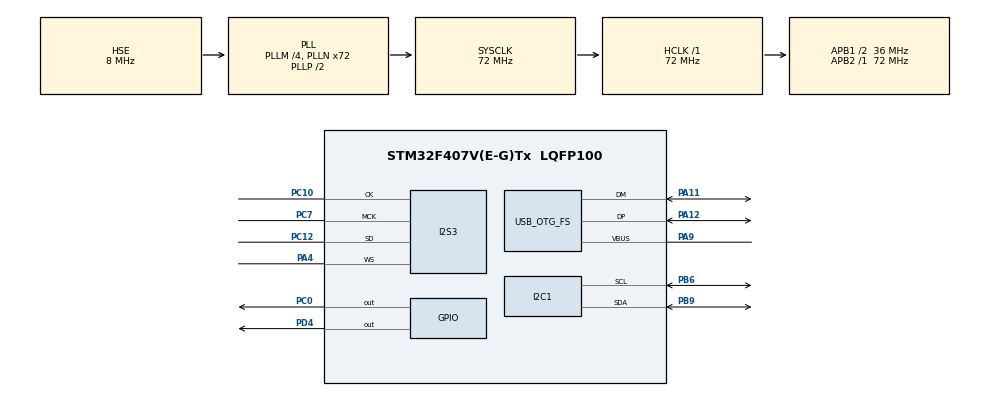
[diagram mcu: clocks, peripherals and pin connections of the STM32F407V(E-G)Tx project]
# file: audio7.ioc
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Dma.Request0=SPI3_TX
Dma.SPI3_TX.0.Direction=DMA_MEMORY_TO_PERIPH
Dma.SPI3_TX.0.FIFOMode=DMA_FIFOMODE_DISABLE
Dma.SPI3_TX.0.Instance=DMA1_Stream5
Dma.SPI3_TX.0.MemDataAlignment=DMA_MDATAALIGN_HALFWORD
Dma.SPI3_TX.0.MemInc=DMA_MINC_ENABLE
Dma.SPI3_TX.0.Mode=DMA_NORMAL
Dma.SPI3_TX.0.PeriphDataAlignment=DMA_PDATAALIGN_HALFWORD
Dma.SPI3_TX.0.PeriphInc=DMA_PINC_DISABLE
Dma.SPI3_TX.0.Priority=DMA_PRIORITY_HIGH
FATFS._MAX_SS=2048
FATFS._MIN_SS=512
I2S3.AudioFreq=I2S_AUDIOFREQ_22K
I2S3.ErrorAudioFreq=0.26 %
I2S3.FullDuplexMode=I2S_FULLDUPLEXMODE_DISABLE
I2S3.Instance=SPI$Index
I2S3.RealAudioFreq=22.058 KHz
I2S3.VirtualMode=I2S_MODE_MASTER
Mcu.Family=STM32F4
Mcu.Name=STM32F407V(E-G)Tx
Mcu.Package=LQFP100
NVIC.DMA1_Stream5_IRQn=true\:0\:0\:false\:false\:true\:false\:true
NVIC.OTG_FS_IRQn=true\:0\:0\:false\:false\:true\:false\:true
NVIC.PriorityGroup=NVIC_PRIORITYGROUP_4
NVIC.SPI3_IRQn=true\:0\:0\:false\:false\:true\:true\:true
PA11.Mode=Host_Only
PA11.Signal=USB_OTG_FS_DM
PA12.Mode=Host_Only
PA12.Signal=USB_OTG_FS_DP
PA4.Mode=Half_Duplex_Master
PA4.Signal=I2S3_WS
PA9.Mode=Activate_VBUS
PA9.Signal=USB_OTG_FS_VBUS
PB6.Mode=I2C
PB6.Signal=I2C1_SCL
PB9.Mode=I2C
PB9.Signal=I2C1_SDA
PC0.Signal=GPIO_Output
PC10.Mode=Half_Duplex_Master
PC10.Signal=I2S3_CK
PC12.Mode=Half_Duplex_Master
PC12.Signal=I2S3_SD
PC7.Mode=Master_Clock_Activated
PC7.Signal=I2S3_MCK
PD4.Signal=GPIO_Output
PH0-OSC_IN.Mode=HSE-External-Oscillator
PH0-OSC_IN.Signal=RCC_OSC_IN
PH1-OSC_OUT.Mode=HSE-External-Oscillator
PH1-OSC_OUT.Signal=RCC_OSC_OUT
ProjectManager.HeapSize=0x200
ProjectManager.StackSize=0x400
ProjectManager.TargetToolchain=STM32CubeIDE
RCC.48MHZClocksFreq_Value=48000000
RCC.AHBFreq_Value=72000000
RCC.APB1CLKDivider=RCC_HCLK_DIV2
RCC.APB1Freq_Value=36000000
RCC.APB1TimFreq_Value=72000000
RCC.APB2Freq_Value=72000000
RCC.APB2TimFreq_Value=72000000
RCC.CortexFreq_Value=72000000
RCC.HCLKFreq_Value=72000000
RCC.HSE_VALUE=8000000
RCC.HSI_VALUE=16000000
RCC.LSE_VALUE=32768
RCC.PLLM=4
RCC.PLLN=72
RCC.PLLQ=3
RCC.SYSCLKFreq_VALUE=72000000
RCC.SYSCLKSource=RCC_SYSCLKSOURCE_PLLCLK
RCC.VCOOutputFreq_Value=144000000
USB_HOST.BSP.number=1
USB_HOST.USBH_HandleTypeDef-MSC_FS=hUsbHostFS
USB_HOST.USBH_MAX_DATA_BUFFER-MSC_FS=1024
USB_HOST.VirtualModeFS=Msc
USB_HOST0.BSP.STBoard=false
USB_HOST0.BSP.api=Unknown
USB_HOST0.BSP.i2caddr=0
USB_HOST0.BSP.instance=PC0
USB_HOST0.BSP.ip=GPIO
USB_HOST0.BSP.mode=Output
USB_HOST0.BSP.name=Drive_VBUS_FS
USB_HOST0.BSP.solution=PC0
USB_OTG_FS.VirtualMode=Host_Only
USB_OTG_FS.phy_itface=HCD_PHY_EMBEDDED
VP_CRC_VS_CRC.Mode=CRC_Activate
VP_FATFS_VS_USB.Mode=USB
VP_USB_HOST_VS_USB_HOST_MSC_FS.Mode=MSC_FS
board=custom

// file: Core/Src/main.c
/* USER CODE BEGIN Header */
/**
  ******************************************************************************
  * @file           : main.c
  * @brief          : Main program body
  ******************************************************************************
  * @attention
  *
  * <h2><center>&copy; Copyright (c) 2021 STMicroelectronics.
  * All rights reserved.</center></h2>
  *
  * This software component is licensed by ST under BSD 3-Clause license,
  * the "License"; You may not use this file except in compliance with the
  * License. You may obtain a copy of the License at:
  *                        opensource.org/licenses/BSD-3-Clause
  *
  ******************************************************************************
  */
/* USER CODE END Header */
#include "main.h"
#include "fatfs.h"
#include "usb_host.h"

/* USER CODE BEGIN Includes */
#include "audio.h"
#include "spiritMP3Dec.h"
//#include <math.h>
/* USER CODE END Includes */

CRC_HandleTypeDef hcrc;

I2C_HandleTypeDef hi2c1;

I2S_HandleTypeDef hi2s3;
DMA_HandleTypeDef hdma_spi3_tx;

/* USER CODE BEGIN PV */
//#define PI 3.14159f
//#define F_SAMPLE		44000.0f
//#define F_OUT			1500.0f
/* USER CODE END PV */

void SystemClock_Config(void);
static void MX_GPIO_Init(void);
static void MX_DMA_Init(void);
static void MX_I2C1_Init(void);
static void MX_I2S3_Init(void);
static void MX_CRC_Init(void);
void MX_USB_HOST_Process(void);

/* USER CODE BEGIN 0 */
uint8_t retUSBH; /* Return value for USBH */
char USBHPath[4]; /* USBH logical drive path */
FATFS USBHFatFS; /* File system object for USBH logical drive */
FIL USBHFile; /* File object for USBH */
extern ApplicationTypeDef Appli_state;

//float sample_dt;
//uint16_t sample_N;

#define COUNT _MAX_SS
int16_t buffer[COUNT];
UINT count;
int16_t * read_buff;
int16_t * play_buff;
uint8_t go_next=0;

uint8_t rd_part1=0;
uint8_t rd_part2=0;
uint8_t playing=0;
TSpiritMP3Decoder g_MP3Decoder;
TSpiritMP3Info Mp3Info;
//uint16_t last_sample = 0;

//void create_period(int16_t * buf, uint16_t Nsamples)
//{
//	//Build Sine wave
//	for(uint16_t i=0; i<Nsamples/2; i++)
//	{
//		float mySinVal = sinf(last_sample*2*PI*sample_dt);
//		buf[i*2] = (mySinVal )*8000;    //Right data (0 2 4 6 8 10 12)
//		buf[i*2 + 1] =(mySinVal )*8000; //Left data  (1 3 5 7 9 11 13)
//		last_sample++;
//		if (last_sample > sample_N) last_sample = 0;
//	}
//}

unsigned int RetrieveMP3Data(void * pMP3CompressedData,unsigned int nMP3DataSizeInChars,void * token)
{

	f_read((FIL*)token, pMP3CompressedData, nMP3DataSizeInChars, &count);
	return count;
}
/* USER CODE END 0 */

int main(void)
{
  /* USER CODE BEGIN 1 */
	//sample_dt = F_OUT/F_SAMPLE;
	//sample_N = F_SAMPLE/F_OUT;

  /* USER CODE END 1 */

  /* MCU Configuration--------------------------------------------------------*/

  /* Reset of all peripherals, Initializes the Flash interface and the Systick. */
  HAL_Init();

  /* Configure the system clock */
  SystemClock_Config();

  /* Initialize all configured peripherals */
  MX_GPIO_Init();
  MX_DMA_Init();
  MX_I2C1_Init();
  MX_I2S3_Init();
  MX_FATFS_Init();
  MX_USB_HOST_Init();
  MX_CRC_Init();
  /* USER CODE BEGIN 2 */
  CS43_Init(hi2c1, MODE_I2S);
  CS43_SetVolume(20);
  CS43_Enable_RightLeft(CS43_RIGHT_LEFT);
  CS43_Start();

  /* USER CODE END 2 */

  /* Infinite loop */
  while (1)
  {
    MX_USB_HOST_Process();

    /* USER CODE BEGIN 3 */
    if (Appli_state == APPLICATION_READY) {
    	if (!playing) {
			if (f_mount(&USBHFatFS, USBHPath, 1) == FR_OK) {
				if (f_open(&USBHFile, "my.mp3", FA_OPEN_EXISTING | FA_READ) == FR_OK) {
					// Enable CRC and reset
				    RCC->AHB1ENR |= RCC_AHB1ENR_CRCEN;
				    CRC->CR = CRC_CR_RESET;

				    // Read Sampling rate
					SpiritMP3DecoderInit(&g_MP3Decoder,       // MP3 decoder object
										RetrieveMP3Data,     // Input callback function
										NULL,         // No post-process callback
										&USBHFile             // Callback parameter
					);

					SpiritMP3Decode(&g_MP3Decoder,(int16_t *)buffer,COUNT/sizeof(uint32_t),&Mp3Info);
					SpiritMP3Decode(&g_MP3Decoder,(int16_t *)&buffer[COUNT/2],COUNT/sizeof(uint32_t),&Mp3Info);

					f_lseek(&USBHFile, 0);

					hi2s3.Init.AudioFreq = Mp3Info.nSampleRateHz;
					HAL_I2S_Init(&hi2s3);

					SpiritMP3DecoderInit(&g_MP3Decoder,       // MP3 decoder object
										RetrieveMP3Data,     // Input callback function
										NULL,         // No post-process callback
										&USBHFile             // Callback parameter
					);

					SpiritMP3Decode(&g_MP3Decoder,(int16_t *)buffer,COUNT/sizeof(uint32_t),NULL);
					SpiritMP3Decode(&g_MP3Decoder,(int16_t *)&buffer[COUNT/2],COUNT/sizeof(uint32_t),NULL);

//					f_read(&USBHFile, (uint8_t*)buffer, 44, &count);
//					f_read(&USBHFile, (uint8_t*)buffer, COUNT,&count);
//					f_read(&USBHFile, (uint8_t*)&buffer[COUNT/2], COUNT,&count);

					//create_period(buffer, _MAX_SS);
					playing = 1;
					HAL_I2S_Transmit_DMA(&hi2s3, (uint16_t *)buffer, COUNT);
				}
			}
    	} else {
    		if (rd_part1) {
    			//f_read(&USBHFile, (uint8_t*)buffer, COUNT,&count);
    			SpiritMP3Decode(&g_MP3Decoder,(int16_t *)buffer,COUNT/sizeof(uint32_t),NULL);
    			rd_part1 = 0;
    		}
    		if (rd_part2) {
    			//f_read(&USBHFile, (uint8_t*)&buffer[COUNT/2], COUNT,&count);
    			SpiritMP3Decode(&g_MP3Decoder,(int16_t *)&buffer[COUNT/2],COUNT/sizeof(uint32_t),NULL);
    			rd_part2 = 0;
    		}
    	}
    } else if (Appli_state == APPLICATION_DISCONNECT) {
    	playing = 0;
    	CS43_Stop();
    	f_mount(0, "", 0);
    	Appli_state = APPLICATION_IDLE;
    }

  }
  /* USER CODE END 3 */
}

void SystemClock_Config(void)
{
  RCC_OscInitTypeDef RCC_OscInitStruct = {0};
  RCC_ClkInitTypeDef RCC_ClkInitStruct = {0};
  RCC_PeriphCLKInitTypeDef PeriphClkInitStruct = {0};

  /** Configure the main internal regulator output voltage
  */
  __HAL_RCC_PWR_CLK_ENABLE();
  __HAL_PWR_VOLTAGESCALING_CONFIG(PWR_REGULATOR_VOLTAGE_SCALE1);
  /** Initializes the RCC Oscillators according to the specified parameters
  * in the RCC_OscInitTypeDef structure.
  */
  RCC_OscInitStruct.OscillatorType = RCC_OSCILLATORTYPE_HSE;
  RCC_OscInitStruct.HSEState = RCC_HSE_ON;
  RCC_OscInitStruct.PLL.PLLState = RCC_PLL_ON;
  RCC_OscInitStruct.PLL.PLLSource = RCC_PLLSOURCE_HSE;
  RCC_OscInitStruct.PLL.PLLM = 4;
  RCC_OscInitStruct.PLL.PLLN = 72;
  RCC_OscInitStruct.PLL.PLLP = RCC_PLLP_DIV2;
  RCC_OscInitStruct.PLL.PLLQ = 3;
  if (HAL_RCC_OscConfig(&RCC_OscInitStruct) != HAL_OK)
  {
    Error_Handler();
  }
  /** Initializes the CPU, AHB and APB buses clocks
  */
  RCC_ClkInitStruct.ClockType = RCC_CLOCKTYPE_HCLK|RCC_CLOCKTYPE_SYSCLK
                              |RCC_CLOCKTYPE_PCLK1|RCC_CLOCKTYPE_PCLK2;
  RCC_ClkInitStruct.SYSCLKSource = RCC_SYSCLKSOURCE_PLLCLK;
  RCC_ClkInitStruct.AHBCLKDivider = RCC_SYSCLK_DIV1;
  RCC_ClkInitStruct.APB1CLKDivider = RCC_HCLK_DIV2;
  RCC_ClkInitStruct.APB2CLKDivider = RCC_HCLK_DIV1;

  if (HAL_RCC_ClockConfig(&RCC_ClkInitStruct, FLASH_LATENCY_2) != HAL_OK)
  {
    Error_Handler();
  }
  PeriphClkInitStruct.PeriphClockSelection = RCC_PERIPHCLK_I2S;
  PeriphClkInitStruct.PLLI2S.PLLI2SN = 192;
  PeriphClkInitStruct.PLLI2S.PLLI2SR = 2;
  if (HAL_RCCEx_PeriphCLKConfig(&PeriphClkInitStruct) != HAL_OK)
  {
    Error_Handler();
  }
}

static void MX_CRC_Init(void)
{

  hcrc.Instance = CRC;
  if (HAL_CRC_Init(&hcrc) != HAL_OK)
  {
    Error_Handler();
  }

}

static void MX_I2C1_Init(void)
{

  hi2c1.Instance = I2C1;
  hi2c1.Init.ClockSpeed = 100000;
  hi2c1.Init.DutyCycle = I2C_DUTYCYCLE_2;
  hi2c1.Init.OwnAddress1 = 0;
  hi2c1.Init.AddressingMode = I2C_ADDRESSINGMODE_7BIT;
  hi2c1.Init.DualAddressMode = I2C_DUALADDRESS_DISABLE;
  hi2c1.Init.OwnAddress2 = 0;
  hi2c1.Init.GeneralCallMode = I2C_GENERALCALL_DISABLE;
  hi2c1.Init.NoStretchMode = I2C_NOSTRETCH_DISABLE;
  if (HAL_I2C_Init(&hi2c1) != HAL_OK)
  {
    Error_Handler();
  }

}

static void MX_I2S3_Init(void)
{

  hi2s3.Instance = SPI3;
  hi2s3.Init.Mode = I2S_MODE_MASTER_TX;
  hi2s3.Init.Standard = I2S_STANDARD_PHILIPS;
  hi2s3.Init.DataFormat = I2S_DATAFORMAT_16B;
  hi2s3.Init.MCLKOutput = I2S_MCLKOUTPUT_ENABLE;
  hi2s3.Init.AudioFreq = I2S_AUDIOFREQ_22K;
  hi2s3.Init.CPOL = I2S_CPOL_LOW;
  hi2s3.Init.ClockSource = I2S_CLOCK_PLL;
  hi2s3.Init.FullDuplexMode = I2S_FULLDUPLEXMODE_DISABLE;
  if (HAL_I2S_Init(&hi2s3) != HAL_OK)
  {
    Error_Handler();
  }

}

static void MX_DMA_Init(void)
{

  /* DMA controller clock enable */
  __HAL_RCC_DMA1_CLK_ENABLE();

  /* DMA interrupt init */
  /* DMA1_Stream5_IRQn interrupt configuration */
  HAL_NVIC_SetPriority(DMA1_Stream5_IRQn, 0, 0);
  HAL_NVIC_EnableIRQ(DMA1_Stream5_IRQn);

}

static void MX_GPIO_Init(void)
{
  GPIO_InitTypeDef GPIO_InitStruct = {0};

  /* GPIO Ports Clock Enable */
  __HAL_RCC_GPIOH_CLK_ENABLE();
  __HAL_RCC_GPIOC_CLK_ENABLE();
  __HAL_RCC_GPIOA_CLK_ENABLE();
  __HAL_RCC_GPIOD_CLK_ENABLE();
  __HAL_RCC_GPIOB_CLK_ENABLE();

  /*Configure GPIO pin Output Level */
  HAL_GPIO_WritePin(GPIOC, GPIO_PIN_0, GPIO_PIN_RESET);

  /*Configure GPIO pin Output Level */
  HAL_GPIO_WritePin(GPIOD, GPIO_PIN_4, GPIO_PIN_RESET);

  /*Configure GPIO pin : PC0 */
  GPIO_InitStruct.Pin = GPIO_PIN_0;
  GPIO_InitStruct.Mode = GPIO_MODE_OUTPUT_PP;
  GPIO_InitStruct.Pull = GPIO_NOPULL;
  GPIO_InitStruct.Speed = GPIO_SPEED_FREQ_LOW;
  HAL_GPIO_Init(GPIOC, &GPIO_InitStruct);

  /*Configure GPIO pin : PD4 */
  GPIO_InitStruct.Pin = GPIO_PIN_4;
  GPIO_InitStruct.Mode = GPIO_MODE_OUTPUT_PP;
  GPIO_InitStruct.Pull = GPIO_NOPULL;
  GPIO_InitStruct.Speed = GPIO_SPEED_FREQ_LOW;
  HAL_GPIO_Init(GPIOD, &GPIO_InitStruct);

}

/* USER CODE BEGIN 4 */
void HAL_I2S_TxCpltCallback(I2S_HandleTypeDef *hi2s)
{
	if (hi2s->Instance == hi2s3.Instance)
	{
		HAL_I2S_Transmit_DMA(&hi2s3, (uint16_t *)buffer, COUNT);
		//create_period(&buffer[_MAX_SS/2], _MAX_SS/2);
		rd_part2=1;
	}
}

void HAL_I2S_TxHalfCpltCallback(I2S_HandleTypeDef *hi2s)
{
	if (hi2s->Instance == hi2s3.Instance)
	{
		//create_period(buffer, _MAX_SS/2);
		rd_part1=1;
	}
}
/* USER CODE END 4 */

void Error_Handler(void)
{
  __disable_irq();
  while (1)
  {
  }
}

/************************ (C) COPYRIGHT STMicroelectronics *****END OF FILE****/
